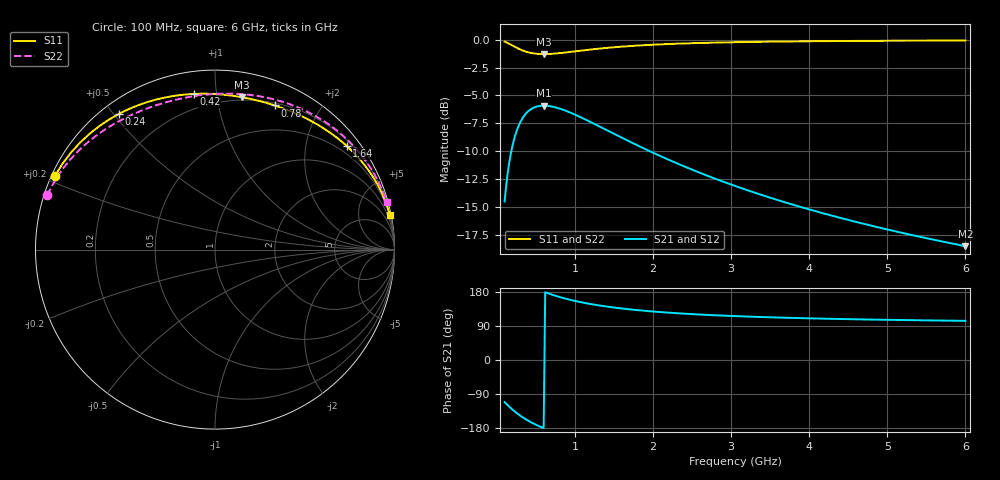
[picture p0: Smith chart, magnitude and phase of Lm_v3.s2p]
! Sonnet Data File
! From: em Version : 14.52
! From Project: Lm_v3
! Data is De-embedded
! Data File Written: 03/13/2018 00:14:46
!< HDATE 03/12/2018 23:52:20
!< MDATE 03/12/2018 23:52:20
# GHZ Z MA R 1.0
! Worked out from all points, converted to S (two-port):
!   296 points, 100 MHz to 6 GHz, reference 1 ohm
!   highest |S21| = -5.91 dB at 600 MHz (marker M1); lowest = -18.5 dB at 6 GHz (marker M2)
!   |S21| within 3 dB of the highest: 222 MHz to 1.635 GHz (1.413 GHz wide, 152 % of centre)
!   lowest |S11| = -1.3 dB at 600 MHz (marker M3), VSWR 13.52, Z = 0.178 + j1.18 ohm
!   |S11| at or under -10 dB: nowhere
!   |S22| runs from -1.3 to -0.1 dB; largest |S21 - S12| = 3.4e-16
!   S11 on the Smith chart (normalised r, x): 100 MHz: 0.01, +0.22; 240 MHz: 0.05, +0.52; 420 MHz: 0.12, +0.86; 780 MHz: 0.22, +1.47; 1.64 GHz: 0.32, +2.86; 6 GHz: 0, +10
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0.1  0.2188 90.0  0.09838 -90.0  0.09838 -90.0  0.1603 90.0
!< P1 F=0.1 Eeff=(undefined: sl) Z0=(undefined: sl) R=0.0 C=0.0
!< P2 F=0.1 Eeff=(undefined: sl) Z0=(undefined: sl) R=0.0 C=0.0
0.12  0.2642 90.0  0.1181 -90.0  0.1181 -90.0  0.1933 90.0
0.16  0.355 90.0  0.1576 -90.0  0.1576 -90.0  0.2594 90.0
0.2  0.4458 90.0  0.1972 -90.0  0.1972 -90.0  0.3255 90.0
0.24  0.5366 90.0  0.2367 -90.0  0.2367 -90.0  0.3917 90.0
0.28  0.6274 90.0  0.2762 -90.0  0.2762 -90.0  0.4578 90.0
0.32  0.7182 90.0  0.3157 -90.0  0.3157 -90.0  0.5239 90.0
0.42  0.9451 90.0  0.4145 -90.0  0.4145 -90.0  0.6891 90.0
0.5  1.127 90.0  0.4936 -90.0  0.4936 -90.0  0.8213 90.0
0.6  1.354 90.0  0.5925 -90.0  0.5925 -90.0  0.9865 90.0
0.68  1.535 90.0  0.6716 -90.0  0.6716 -90.0  1.119 90.0
0.78  1.762 90.0  0.7705 -90.0  0.7705 -90.0  1.284 90.0
0.94  2.125 90.0  0.9289 -90.0  0.9289 -90.0  1.548 90.0
1.1  2.488 90.0  1.087 -90.0  1.087 -90.0  1.813 90.0
1.36  3.078 90.0  1.345 -90.0  1.345 -90.0  2.243 90.0
1.64  3.714 90.0  1.624 -90.0  1.624 -90.0  2.706 90.0
2.08  4.716 90.0  2.063 -90.0  2.063 -90.0  3.436 90.0
2.52  5.719 90.0  2.504 -90.0  2.504 -90.0  4.167 90.0
3.06  6.955 90.0  3.05 -90.0  3.05 -90.0  5.069 90.0
4.04  9.215 90.0  4.055 -90.0  4.055 -90.0  6.718 90.0
5.02  11.51 90.0  5.085 -90.0  5.085 -90.0  8.391 90.0
6  13.83 90.0  6.145 -90.0  6.145 -90.0  10.09 90.0
